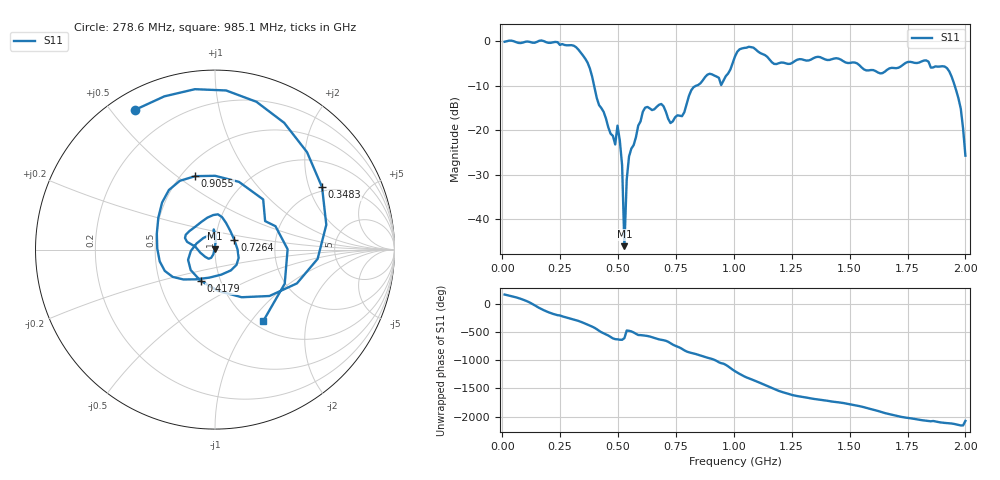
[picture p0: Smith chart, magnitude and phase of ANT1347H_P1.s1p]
!Created with skrf (http://scikit-rf.org).
# Hz S RI R 50.0
!freq ReS11 ImS11
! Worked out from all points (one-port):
!   201 points, 10 MHz to 2 GHz, reference 50 ohm
!   lowest |S11| = -46.0 dB at 527.4 MHz (marker M1), VSWR 1.01, Z = 49.8 + j0.451 ohm
!   |S11| at or under -10 dB: 396.6 MHz to 837.7 MHz (441.1 MHz wide, 71.5 % of centre); 1.954 GHz to end of sweep
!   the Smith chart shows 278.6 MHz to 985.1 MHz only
!   S11 on the Smith chart (normalised r, x): 278.6 MHz: 0.07, +0.58; 348.3 MHz: 1.85, +2.45; 417.9 MHz: 0.80, -0.29; 726.4 MHz: 1.24, +0.13; 905.5 MHz: 0.59, +0.58; 985.1 MHz: 1.11, -1.15
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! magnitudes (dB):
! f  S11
! 10 MHz  -0.1
! 258.8 MHz  -0.7
! 278.6 MHz  -0.9
! 348.3 MHz  -3.2
! 417.9 MHz  -14.4
! 487.6 MHz  -23.2
! 497.6 MHz  -19.0
! 507.5 MHz  -22.3
! 517.5 MHz  -27.8
! 527.4 MHz  -46.0
! 537.4 MHz  -31.1
! 547.3 MHz  -25.9
! 607 MHz  -15.8
! 686.6 MHz  -14.1
! 726.4 MHz  -18.4
! 756.2 MHz  -16.7
! 905.5 MHz  -7.5
! 945.3 MHz  -9.9
! 985.1 MHz  -6.4
! 1.005 GHz  -3.4
! 1.065 GHz  -1.3
! 1.254 GHz  -4.8
! 1.502 GHz  -4.9
! 1.632 GHz  -7.2
! 1.751 GHz  -4.7
! 1.93 GHz  -6.8
! 1.98 GHz  -15.2
! 2 GHz  -25.7
